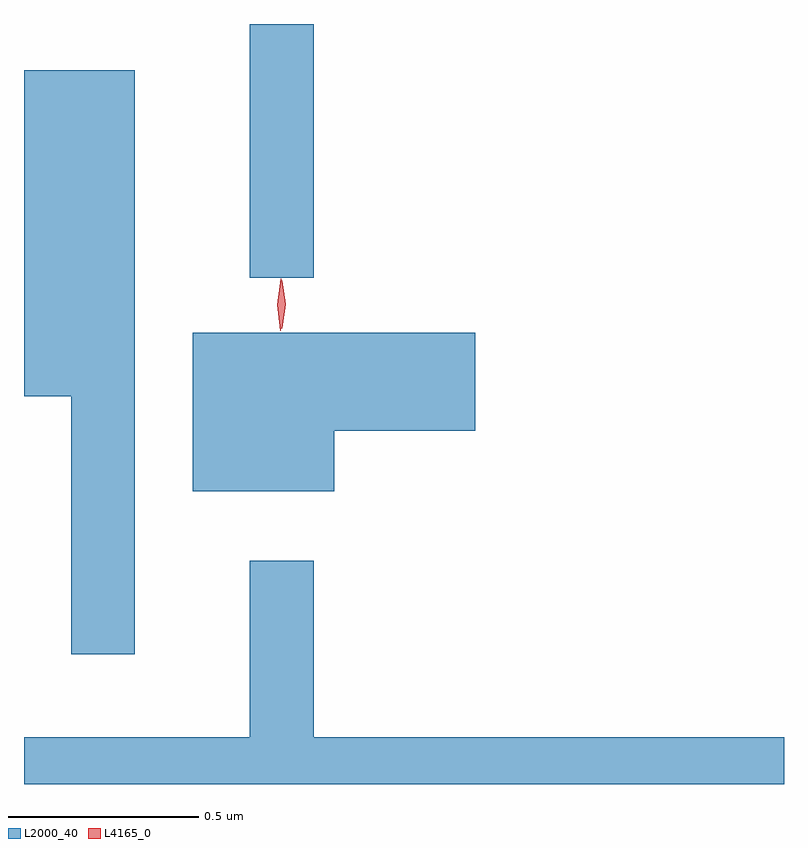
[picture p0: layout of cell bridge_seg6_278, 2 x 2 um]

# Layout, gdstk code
import gdstk
lib = gdstk.Library(unit=1e-6, precision=1e-09)
def R(c, l, rs):  # rectangles x0, y0, x1, y1
    for r in rs: c.add(gdstk.rectangle(r[:2], r[2:], *l))
def P(c, l, *ps):  # polygons
    for p in ps: c.add(gdstk.Polygon(p, *l))
L2000_40 = (2000, 40)
L4165_0 = (4165, 0)

bridge_seg6_278 = lib.new_cell('bridge_seg6_278')
R(bridge_seg6_278, L2000_40, [(1277.541,1567.053,1277.709,1567.721)])
P(bridge_seg6_278, L2000_40, [(1277.239,1567.599),(1276.947,1567.599),(1276.947,1566.741),(1277.071,1566.741),(1277.071,1566.063),(1277.239,1566.063)],
  [(1277.764,1566.651),(1278.134,1566.651),(1278.134,1566.909),(1277.391,1566.909),(1277.391,1566.491),(1277.764,1566.491)],
  [(1278.947,1565.844),(1277.709,1565.844),(1277.709,1566.308),(1277.541,1566.308),(1277.541,1565.844),(1276.947,1565.844),(1276.947,1565.721),(1278.947,1565.721)])
P(bridge_seg6_278, L4165_0, [(1277.625,1566.92),(1277.616,1566.983),(1277.625,1567.046),(1277.625,1567.047),(1277.626,1567.046),(1277.636,1566.983),(1277.626,1566.92),(1277.626,1566.92)],
  [(1277.621,1566.914),(1277.613,1566.982),(1277.623,1567.05),(1277.623,1567.05),(1277.624,1567.05),(1277.633,1566.982),(1277.622,1566.914),(1277.622,1566.914)])

lib.write_gds('bridge_seg6_278.gds')
